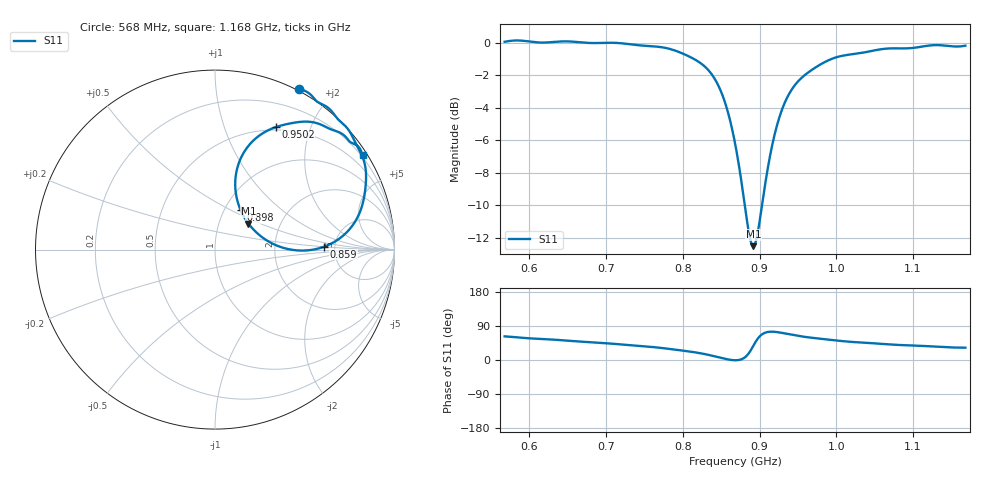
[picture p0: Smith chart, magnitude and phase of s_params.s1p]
# MHz S RI R 50
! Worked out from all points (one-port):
!   1001 points, 568 MHz to 1.168 GHz, reference 50 ohm
!   lowest |S11| = -12.5 dB at 892 MHz (marker M1), VSWR 1.62, Z = 69.1 + j21.2 ohm
!   |S11| at or under -10 dB: 880.7 MHz to 903.2 MHz (22.51 MHz wide, 2.52 % of centre)
!   S11 on the Smith chart (normalised r, x): 568 MHz: -0.01, +1.65; 859 MHz: 4.10, +0.21; 898 MHz: 1.19, +0.56; 950.2 MHz: 0.47, +1.51; 1.168 GHz: 0.13, +3.43
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568  0.4672 0.8926
593.8  0.5357 0.8606
643  0.6203 0.7973
718  0.7495 0.6589
763.6  0.8113 0.5402
793  0.8414 0.4214
818.2  0.8311 0.2937
833.8  0.7992 0.1902
846.4  0.7316 0.0942
859  0.6086 0.0162
868  0.491 -0.00546
879.4  0.3314 0.0282
886.6  0.2412 0.0862
892  0.1863 0.1451
895  0.1619 0.1823
898  0.1422 0.2216
908.2  0.1125 0.3613
919.6  0.1408 0.5024
931  0.2093 0.6033
943  0.2923 0.663
950.2  0.3378 0.682
985  0.503 0.7132
1018  0.6154 0.6843
1067.2  0.7201 0.6356
1093  0.7509 0.6011
1133.8  0.8101 0.5579
1150.6  0.8175 0.5323
1168  0.8268 0.526
